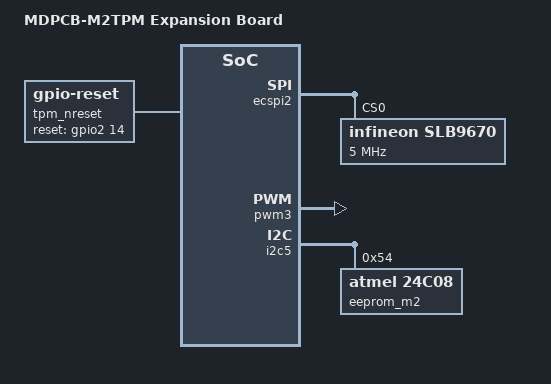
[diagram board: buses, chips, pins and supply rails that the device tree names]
// SPDX-License-Identifier: (GPL-2.0+ OR MIT)
/*
 * Copyright 2022 CompuLab Ltd
 * Modified and renamed from original "iot-gate-imx8plus-m2tpm.dts" on 2026-04-17 to add custom pin configuration
 */

#include "iot-gate-imx8plus.dts"

/* IOT-GATE-IMX8PLUS with TPM extension module in M.2 Expansion Connector */

/ {
	model = "MDPCB-M2TPM Expansion Board";

	tpm_nreset: tpm-nreset {
		compatible = "gpio-reset";
		pinctrl-names = "default";
		pinctrl-0 = <&pinctrl_tpm_nrst>;
		reset-gpios = <&gpio2 14 GPIO_ACTIVE_HIGH>;
		#reset-cells = <0>;
		initially-in-reset;
	};
};

&gpio2 {
	pinctrl-names = "default";
	pinctrl-0 = <&pinctrl_gpio2>;
	status = "okay";
};

&ecspi2 {
	status = "okay";

	/delete-node/ spidev2@0;

	slb9670: slb9670-ecspi2@0 {
		resets = <&tpm_nreset>;
		compatible = "infineon,slb9670", "tcg,tpm_tis-spi";
		reg = <0>;
		spi-max-frequency = <5000000>;
		status = "okay";
	};
};

&pwm3 {
	pinctrl-names = "default";
	pinctrl-0 = <&pinctrl_pwm3>;
	status = "okay";
};

&i2c5 {
	status = "okay";

	eeprom_m2: eeprom-i2c5@54 {
		compatible = "atmel,24c08";
		pagesize = <16>;
		reg = <0x54>;
		status = "okay";
	};
};

&i2c6 {
	status = "disabled";
};

&usdhc2 {
	status = "disabled";
};

&iomuxc {
	pinctrl_tpm_nrst: tpmnrstgrp {
		fsl,pins = <
			MX8MP_IOMUXC_SD2_CMD__GPIO2_IO14       0x19
		>;
	};

		pinctrl_gpio2: gpio2grp {
		fsl,pins = <
			MX8MP_IOMUXC_SD2_CLK__GPIO2_IO13       0x100
			MX8MP_IOMUXC_SD2_DATA0__GPIO2_IO15     0x100
			MX8MP_IOMUXC_SD2_DATA1__GPIO2_IO16     0x100
			MX8MP_IOMUXC_SD2_DATA2__GPIO2_IO17     0x100
			MX8MP_IOMUXC_SD2_DATA3__GPIO2_IO18     0x100
			MX8MP_IOMUXC_SD2_RESET_B__GPIO2_IO19   0x100
			MX8MP_IOMUXC_GPIO1_IO04__GPIO1_IO04    0x100  /* Pin doesn't need config */
		>;
	};

		pinctrl_pwm3: pwm3grp {
		fsl,pins = <
			MX8MP_IOMUXC_SAI5_RXC__PWM3_OUT        0x116  /* P5-09 */
		>;
	};
};
